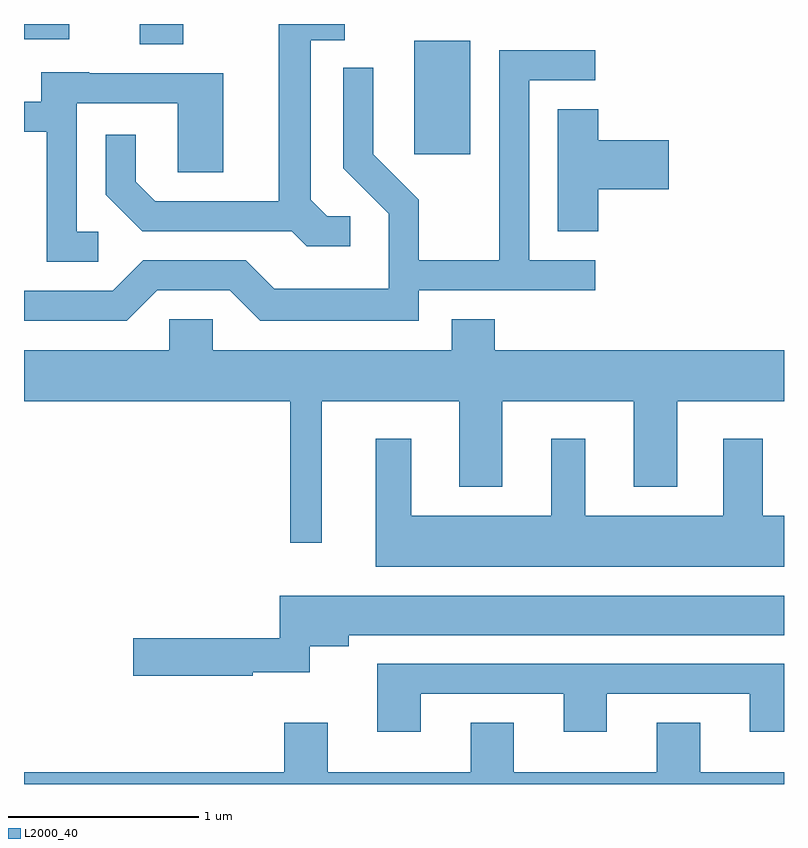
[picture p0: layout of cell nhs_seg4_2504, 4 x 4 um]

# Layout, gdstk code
import gdstk
lib = gdstk.Library(unit=1e-6, precision=1e-09)
def R(c, l, rs):  # rectangles x0, y0, x1, y1
    for r in rs: c.add(gdstk.rectangle(r[:2], r[2:], *l))
def P(c, l, *ps):  # polygons
    for p in ps: c.add(gdstk.Polygon(p, *l))
L2000_40 = (2000, 40)

nhs_seg4_2504 = lib.new_cell('nhs_seg4_2504')
R(nhs_seg4_2504, L2000_40, [(259.666,1369.296,259.959,1369.894), (258.221,1369.876,258.449,1369.982), (257.611,1369.901,257.848,1369.982)])
P(nhs_seg4_2504, L2000_40, [(259.328,1368.969),(259.207,1368.969),(259.119,1369.057),(259.119,1369.896),(259.298,1369.896),(259.298,1369.982),(258.951,1369.982),(258.951,1369.049),(258.302,1369.049),(258.199,1369.152),(258.199,1369.398),(258.041,1369.398),(258.041,1369.084),(258.234,1368.891),(259.019,1368.891),(259.099,1368.811),(259.328,1368.811)],
  [(258.312,1368.581),(258.694,1368.581),(258.854,1368.421),(259.689,1368.421),(259.689,1368.581),(260.618,1368.581),(260.618,1368.739),(260.269,1368.739),(260.269,1369.686),(260.618,1369.686),(260.618,1369.844),(260.111,1369.844),(260.111,1368.739),(259.689,1368.739),(259.689,1369.057),(259.449,1369.297),(259.449,1369.753),(259.291,1369.753),(259.291,1369.224),(259.531,1368.984),(259.531,1368.589),(258.927,1368.589),(258.777,1368.739),(258.239,1368.739),(258.079,1368.579),(257.611,1368.579),(257.611,1368.421),(258.152,1368.421)],
  [(258.003,1368.889),(257.889,1368.889),(257.889,1369.566),(258.421,1369.566),(258.421,1369.201),(258.659,1369.201),(258.659,1369.724),(257.955,1369.724),(257.955,1369.729),(257.701,1369.729),(257.701,1369.574),(257.611,1369.574),(257.611,1369.416),(257.731,1369.416),(257.731,1368.731),(258.003,1368.731)],
  [(260.634,1369.111),(261.004,1369.111),(261.004,1369.369),(260.634,1369.369),(260.634,1369.534),(260.421,1369.534),(260.421,1368.891),(260.634,1368.891)],
  [(259.179,1367.996),(259.901,1367.996),(259.901,1367.546),(260.129,1367.546),(260.129,1367.996),(260.821,1367.996),(260.821,1367.546),(261.049,1367.546),(261.049,1367.996),(261.611,1367.996),(261.611,1368.264),(260.089,1368.264),(260.089,1368.429),(259.861,1368.429),(259.861,1368.264),(258.604,1368.264),(258.604,1368.429),(258.376,1368.429),(258.376,1368.264),(257.611,1368.264),(257.611,1367.996),(259.011,1367.996),(259.011,1367.253),(259.179,1367.253)],
  [(261.611,1367.394),(261.499,1367.394),(261.499,1367.799),(261.291,1367.799),(261.291,1367.394),(260.564,1367.394),(260.564,1367.799),(260.386,1367.799),(260.386,1367.394),(259.649,1367.394),(259.649,1367.799),(259.461,1367.799),(259.461,1367.126),(261.611,1367.126)],
  [(258.814,1366.571),(259.114,1366.571),(259.114,1366.706),(259.319,1366.706),(259.319,1366.766),(261.611,1366.766),(261.611,1366.974),(258.956,1366.974),(258.956,1366.749),(258.186,1366.749),(258.186,1366.551),(258.814,1366.551)],
  [(259.699,1366.456),(260.451,1366.456),(260.451,1366.256),(260.679,1366.256),(260.679,1366.456),(261.431,1366.456),(261.431,1366.256),(261.611,1366.256),(261.611,1366.614),(259.471,1366.614),(259.471,1366.256),(259.699,1366.256)],
  [(261.611,1366.044),(261.169,1366.044),(261.169,1366.304),(260.941,1366.304),(260.941,1366.044),(260.189,1366.044),(260.189,1366.304),(259.961,1366.304),(259.961,1366.044),(259.209,1366.044),(259.209,1366.304),(258.981,1366.304),(258.981,1366.044),(257.611,1366.044),(257.611,1365.982),(261.611,1365.982)])

lib.write_gds('nhs_seg4_2504.gds')
